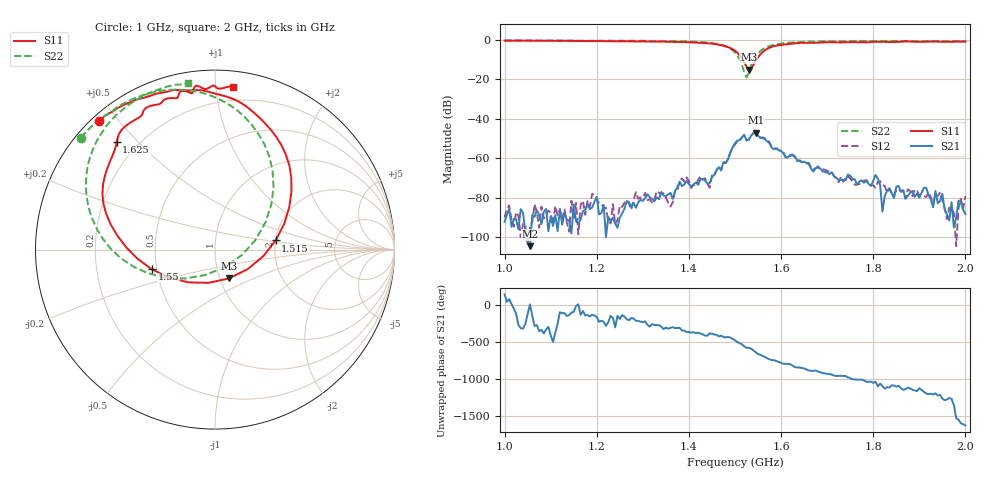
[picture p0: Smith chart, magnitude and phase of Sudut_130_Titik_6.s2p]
# Hz S RI R 50
! CMT, C1220, 16058040, 17.2.0/1
! Date: 14/08/2018 12:21:53
! Data: Format (Calibration Info)
! Freq  S11: Re/Im (F2)  S21: Re/Im (F2)  S12: Re/Im (F2)  S22: Re/Im (F2)
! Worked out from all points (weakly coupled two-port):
!   201 points, 1 GHz to 2 GHz, reference 50 ohm
!   highest |S21| = -46.97 dB at 1.545 GHz (marker M1); lowest = -104.5 dB at 1.055 GHz (marker M2)
!   lowest |S11| = -15.0 dB at 1.53 GHz (marker M3), VSWR 1.43, Z = 55.1 - j18.3 ohm
!   |S11| at or under -10 dB: 1.517 GHz to 1.546 GHz (29.61 MHz wide, 1.93 % of centre)
!   |S22| runs from -19.0 to -0.2 dB; largest |S21 - S12| = 0.00026
!   S11 on the Smith chart (normalised r, x): 1 GHz: 0.02, +0.44; 1.515 GHz: 2.00, +0.23; 1.55 GHz: 0.47, -0.12; 1.625 GHz: 0.12, +0.43; 2 GHz: 0.11, +1.11
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1e9  -0.645 0.7158  -2.01e-05 1.44e-05  -3.01e-05 1.01e-05  -0.7481 0.6241
1.055e9  -0.5959 0.7546  5.85e-06 1.12e-06  -5.25e-06 1.68e-05  -0.71 0.6645
1.17e9  -0.4671 0.8236  8.71e-06 -4.52e-05  -9.68e-06 -8.38e-05  -0.6115 0.7486
1.335e9  -0.2008 0.8883  3.66e-06 9.24e-05  3.2e-05 0.00013  -0.3964 0.8621
1.365e9  -0.111 0.8883  4.42e-05 8.28e-05  4.07e-05 6.55e-05  -0.3289 0.8798
1.395e9  -0.0368 0.8792  0.000266 -2.11e-05  0.000329 1.73e-05  -0.24 0.8908
1.445e9  0.1674 0.8023  0.000216 -9.06e-05  0.000152 -9.65e-05  -0.00667 0.8514
1.5e9  0.426 0.322  -0.00107 -0.00218  -0.00102 -0.00202  0.326 0.3481
1.515e9  0.3382 0.0511  -0.00332 -0.000577  -0.00334 -0.000625  0.2259 0.0539
1.53e9  0.0765 -0.1608  -0.00232 0.00184  -0.00237 0.00186  -0.055 -0.1419
1.545e9  -0.2556 -0.1559  0.000673 0.00443  0.000588 0.00445  -0.3728 -0.132
1.55e9  -0.3518 -0.11  0.00204 0.0032  0.00194 0.00328  -0.4566 -0.0938
1.625e9  -0.5478 0.5989  -0.000201 -0.00123  -0.000167 -0.00118  -0.6934 0.5215
1.67e9  -0.4219 0.7369  -0.000456 -8.42e-05  -0.000511 -0.000113  -0.6178 0.6706
1.795e9  -0.2028 0.8632  0.000144 0.000142  0.000141 0.000148  -0.4255 0.8412
1.805e9  -0.193 0.8799  0.000284 0.000254  0.000174 4.76e-05  -0.4113 0.8496
1.82e9  -0.1639 0.8834  4.28e-05 -1.29e-05  0.000176 0.000118  -0.3914 0.8599
1.835e9  -0.1337 0.8709  0.000141 -0.000105  0.000167 -2.77e-05  -0.3712 0.8698
1.845e9  -0.1253 0.8741  9.8e-05 -1.61e-05  9.84e-05 -5.75e-05  -0.3579 0.8761
1.855e9  -0.1208 0.8915  0.000198 -3.96e-05  0.000151 -7.43e-05  -0.3441 0.8814
1.87e9  -0.1062 0.9121  4.88e-05 -8.2e-05  6.69e-05 -6.75e-05  -0.3228 0.8894
2e9  0.0979 0.9043  -3.8e-05 7.11e-06  -0.000111 7.04e-06  -0.1489 0.9276
